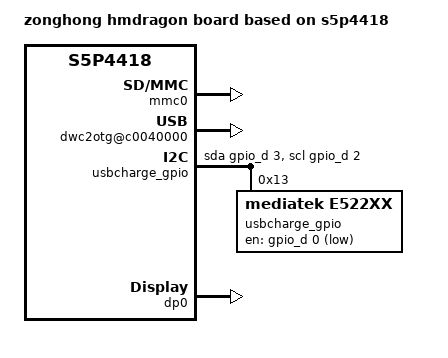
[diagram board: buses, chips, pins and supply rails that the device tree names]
/*
 * (C) Copyright 2018 Nexell
 * Jongshin, Park <pjsin865@nexell.co.kr>
 *
 * SPDX-License-Identifier:      GPL-2.0+
 */

/dts-v1/;
#include <dt-bindings/gpio/gpio.h>
#include "s5p4418.dtsi"
#include "s5p4418-zh-hmdragon-nxe2000.dtsi"

/ {
	model = "zonghong hmdragon board based on s5p4418";
	cpu-model = "S5p4418";

	compatible = "nexell,s5p4418";

	pinctrl@C0010000 {
		/delete-node/ gmac_txd;
		/delete-node/ gmac_rxd;
		/delete-node/ gmac_txen;
		/delete-node/ gmac_mdc;
		/delete-node/ gmac_mdio;
		/delete-node/ gmac_rxclk;
		/delete-node/ gmac_txclk;

		/*
		adv7613_sda: adv7613-sda {
			nexell,pins = "gpiob-24";
			nexell,pin-function = <0>;
			nexell,pin-pull = <1>;
			nexell,pin-strength = <0>;
		};

		adv7613_scl: adv7613-scl {
			nexell,pins = "gpiob-25";
			nexell,pin-function = <0>;
			nexell,pin-pull = <1>;
			nexell,pin-strength = <0>;
		};
		*/
	};

	mmc0:mmc@c0062000 {
		nexell,drive_dly = <0x0>;
		nexell,drive_shift = <0x03>;
		nexell,sample_dly = <0x00>;
		nexell,sample_shift = <0x02>;
		frequency = <50000000>;
		status = "okay";
	};

	dwc2otg@c0040000 {
		status = "okay";
	};

	/*
	mmc1:mmc@c0068000 {
		nexell,drive_dly = <0x0>;
		nexell,drive_shift = <0x03>;
		nexell,sample_dly = <0x00>;
		nexell,sample_shift = <0x02>;
		frequency = <50000000>;
		status ="okay";
	};
	*/

	/*
	ehci:usbhost@c0030000 {
		status = "okay";
	};
	*/

	/*
	nxe2000_gpio:i2c_gpio@0 {
		compatible = "i2c-gpio";
		#address-cells = <1>;
		#size-cells = <0>;
		gpios = <&gpio_e 8 1>,
		      <&gpio_e 9 1>;

		i2c-gpio,delay-us = <5>;
		nxe2000_gpio@32 {
			compatible = "nexell,nxe2000";
			reg = <0x32>;
		};
	};
	*/

	/*
	adv7613_gpio:i2c_gpio@1 {
		compatible = "i2c-gpio";
		#address-cells = <1>;
		#size-cells = <0>;
		gpios = <&gpio_b 24 0>,
			<&gpio_b 25 0>;
		i2c-gpio,delay-us = <20>;

		pinctrl-names = "default";
		pinctrl-0 = <&adv7613_sda &adv7613_scl>;

		adv7613_gpio@98{
			compatible = "ad,adv7613";
			reg = <0x98>;
		};
	};
	*/

	usbcharge_gpio:i2c_gpio@2 {
		compatible = "i2c-gpio";
		#address-cells = <1>;
		#size-cells = <0>;
		gpios = <&gpio_d 3 1>,	/* SDA */
		      <&gpio_d 2 1>;	/* SCL */

		i2c-gpio,delay-us = <3>;
		usbcharge_gpio@13 {
			compatible = "mediatek,e522xx";
			gpios-en = <&gpio_d 0 1>;
			reg = <0x13>;
		};
	};

	dp0:dp@c0102800 {
		#address-cells = <1>;
		#size-cells = <0>;
		compatible = "nexell,nexell-display";
		reg = <0xc0102800 0x100>;
		index = <0>;
		status = "okay";

        module = <0>;
        lcd-type = "hdmi";

		dp-device {
			format = <0>;
			preset = <2>;
		};

		dp-sync {
			h_active_len = <1920>;
			h_front_porch = <30>;
			h_back_porch = <30>;
			h_sync_width = <4>;

			v_active_len = <720>;
			v_front_porch = <10>;
			v_back_porch = <10>;
			v_sync_width = <2>;

			h_sync_invert = <1>;
			v_sync_invert = <1>;
			pixelclk-active = <1>;
			de-active = <1>;
		};

		dp-ctrl {
			clk_src_lv0 = <3>;
			clk_div_lv0 = <10>;
			clk_src_lv1 = <7>;
			clk_div_lv1 = <1>;
			out_format = <3>;
		};

		dp-planes {
			layer_top {
				screen_width = <1920>;
				screen_height = <720>;
				back_color = <0x0>;
			};

			layer_1 {
				fb_base = <0x7E000000>;
				width = <1920>;
				height = <720>;
				format = <0x06530000>;
				pixel_byte = <4>;
			};
		};
	};

	/*
	board_rev:rev@0 {
		#address-cells = <1>;
		#size-cells = <0>;
		gpios = < &gpio_a 16 0 >,
		      < &gpio_a 17 0 >,
		      < &gpio_a 20 0 >,
		      < &gpio_a 21 0 >;
		compatible = "nexell,board_rev";
	};
	*/
};
